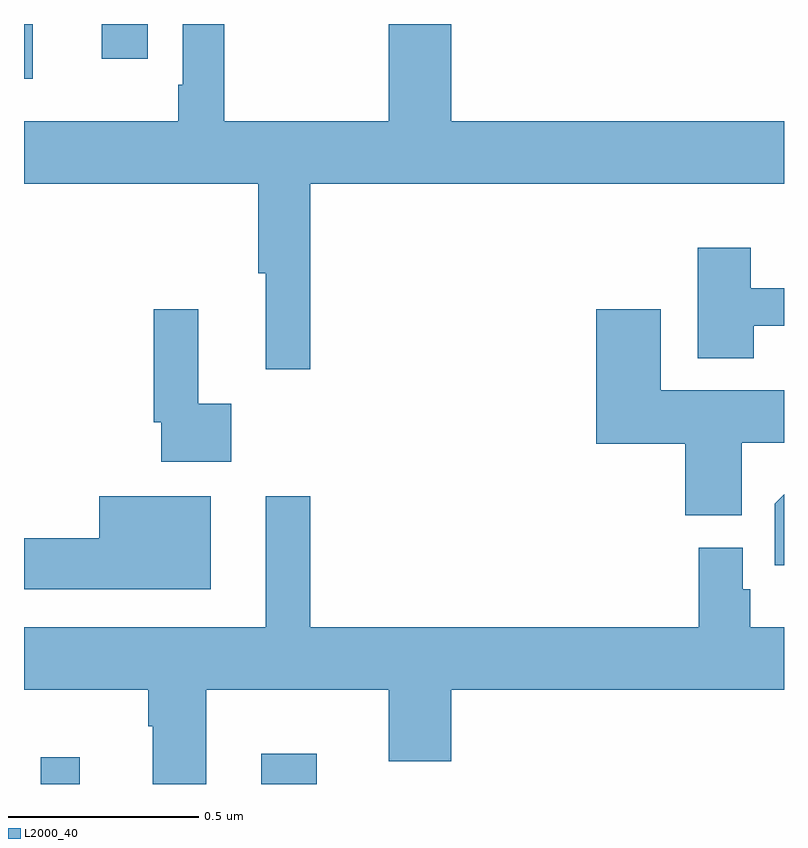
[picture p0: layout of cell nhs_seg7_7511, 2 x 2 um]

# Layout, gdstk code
import gdstk
lib = gdstk.Library(unit=1e-6, precision=1e-09)
def R(c, l, rs):  # rectangles x0, y0, x1, y1
    for r in rs: c.add(gdstk.rectangle(r[:2], r[2:], *l))
def P(c, l, *ps):  # polygons
    for p in ps: c.add(gdstk.Polygon(p, *l))
L2000_40 = (2000, 40)

nhs_seg7_7511 = lib.new_cell('nhs_seg7_7511')
R(nhs_seg7_7511, L2000_40, [(212.044,1035,212.147,1035.07), (212.624,1035,212.77,1035.079), (212,1036.856,212.023,1037), (212.204,1036.908,212.326,1037)])
P(nhs_seg7_7511, L2000_40, [(212.753,1036.58),(214,1036.58),(214,1036.744),(213.124,1036.744),(213.124,1037),(212.96,1037),(212.96,1036.744),(212.527,1036.744),(212.527,1037),(212.418,1037),(212.418,1036.84),(212.406,1036.84),(212.406,1036.744),(212,1036.744),(212,1036.58),(212.617,1036.58),(212.617,1036.344),(212.636,1036.344),(212.636,1036.092),(212.753,1036.092)],
  [(213.921,1036.206),(214,1036.206),(214,1036.305),(213.913,1036.305),(213.913,1036.411),(213.773,1036.411),(213.773,1036.121),(213.921,1036.121)],
  [(213.889,1035.898),(214,1035.898),(214,1036.036),(213.676,1036.036),(213.676,1036.249),(213.506,1036.249),(213.506,1035.896),(213.74,1035.896),(213.74,1035.707),(213.889,1035.707)],
  [(212.545,1036.001),(212.459,1036.001),(212.459,1036.249),(212.341,1036.249),(212.341,1035.952),(212.361,1035.952),(212.361,1035.848),(212.545,1035.848)],
  [(214,1035.762),(213.976,1035.738),(213.976,1035.576),(214,1035.576)],
  [(212.479,1035.248),(212.96,1035.248),(212.96,1035.06),(213.124,1035.06),(213.124,1035.248),(214,1035.248),(214,1035.412),(213.911,1035.412),(213.911,1035.513),(213.891,1035.513),(213.891,1035.622),(213.775,1035.622),(213.775,1035.412),(212.753,1035.412),(212.753,1035.757),(212.636,1035.757),(212.636,1035.412),(212,1035.412),(212,1035.248),(212.327,1035.248),(212.327,1035.152),(212.339,1035.152),(212.339,1035),(212.479,1035)],
  [(212.491,1035.757),(212.198,1035.757),(212.198,1035.647),(212,1035.647),(212,1035.512),(212.491,1035.512)])

lib.write_gds('nhs_seg7_7511.gds')
